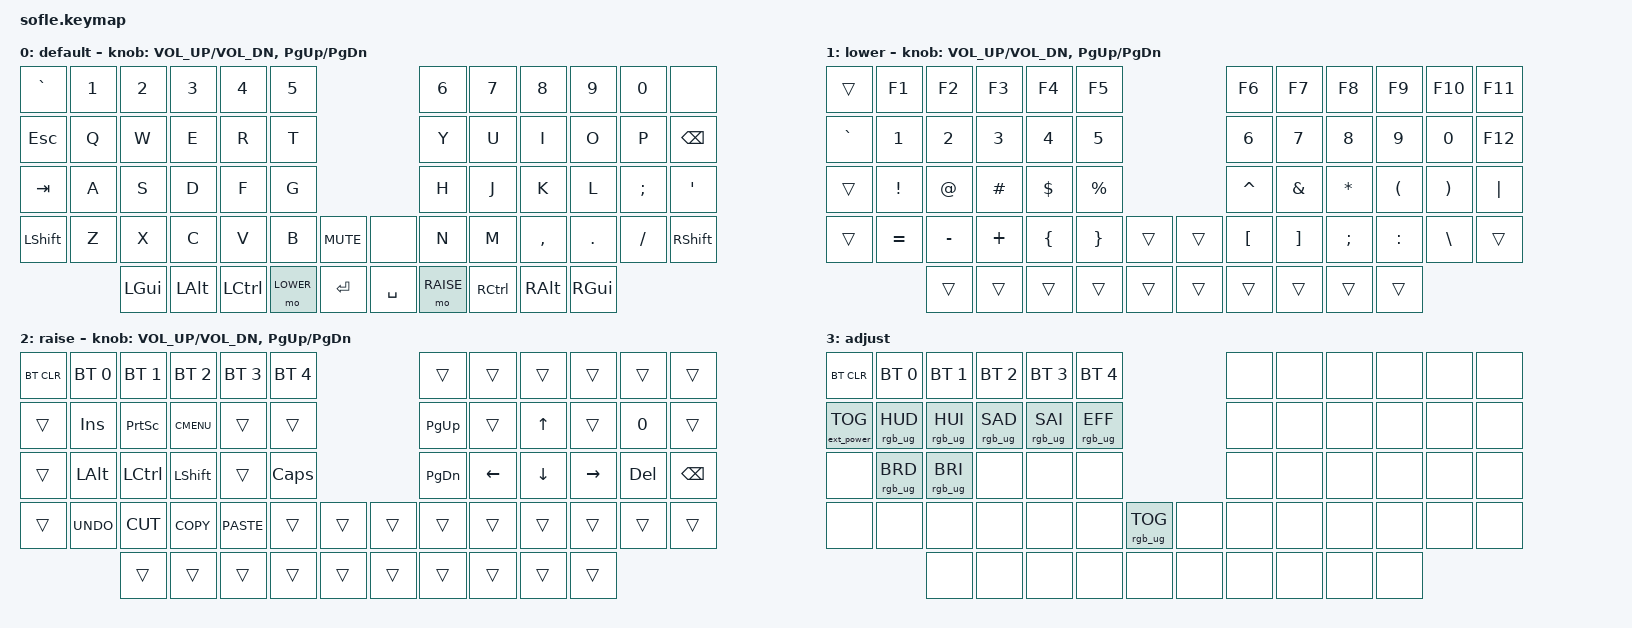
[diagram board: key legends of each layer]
/*
 * Copyright (c) 2020 The ZMK Contributors
 *
 * SPDX-License-Identifier: MIT
 */

#include <behaviors.dtsi>
#include <dt-bindings/zmk/keys.h>
#include <dt-bindings/zmk/bt.h>
#include <dt-bindings/zmk/rgb.h>
#include <dt-bindings/zmk/ext_power.h>
#include <dt-bindings/zmk/trackball_pim447.h>

#define BASE 0
#define LOWER 1
#define RAISE 2
#define ADJUST 3

/ {

   // Activate ADJUST layer by pressing raise and lower
    conditional_layers {
        compatible = "zmk,conditional-layers";
        adjust_layer {
            if-layers = <LOWER RAISE>;
            then-layer = <ADJUST>;
        };
    };

    keymap {
        compatible = "zmk,keymap";

        default_layer {
            display-name = "default";
// ------------------------------------------------------------------------------------------------------------
// |   `   |  1  |  2  |  3   |  4   |  5   |                   |  6   |  7    |  8    |  9   |   0   |       |
// |  ESC  |  Q  |  W  |  E   |  R   |  T   |                   |  Y   |  U    |  I    |  O   |   P   | BKSPC |
// |  TAB  |  A  |  S  |  D   |  F   |  G   |                   |  H   |  J    |  K    |  L   |   ;   |   '   |
// | SHIFT |  Z  |  X  |  C   |  V   |  B   |  MUTE  |  |       |  N   |  M    |  ,    |  .   |   /   | SHIFT |
//               | GUI | ALT  | CTRL | LOWER|  ENTER |  | SPACE | RAISE| CTRL  | ALT   | GUI  |
            bindings = <
&kp GRAVE &kp N1 &kp N2   &kp N3   &kp N4    &kp N5                           &kp N6 &kp N7    &kp N8    &kp N9   &kp N0   &none
&kp ESC   &kp Q  &kp W    &kp E    &kp R     &kp T                            &kp Y  &kp U     &kp I     &kp O    &kp P    &kp BSPC
&kp TAB   &kp A  &kp S    &kp D    &kp F     &kp G                            &kp H  &kp J     &kp K     &kp L    &kp SEMI &kp SQT
&kp LSHFT &kp Z  &kp X    &kp C    &kp V     &kp B      &kp C_MUTE &none      &kp N  &kp M     &kp COMMA &kp DOT  &kp FSLH &kp RSHFT
                 &kp LGUI &kp LALT &kp LCTRL &mo LOWER  &kp RET    &kp SPACE  &mo RAISE  &kp RCTRL &kp RALT  &kp RGUI
            >;

            sensor-bindings = <&inc_dec_kp C_VOL_UP C_VOL_DN &inc_dec_kp PG_UP PG_DN>;
        };

        lower_layer {
            display-name = "lower";
// TODO: Some binds are waiting for shifted keycode support.
// ------------------------------------------------------------------------------------------------------------
// |       |  F1 |  F2 |  F3  |  F4  |  F5  |                   |  F6  |  F7   |  F8   |  F9  |  F10  |  F11  |
// |   `   |  1  |  2  |  3   |  4   |  5   |                   |  6   |  7    |  8    |  9   |   0   |  F12  |
// |       |  !  |  @  |  #   |  $   |  %   |                   |  ^   |  &    |  *    |  (   |   )   |   |   |
// |       |  =  |  -  |  +   |  {   |  }   |        |  |       |  [   |  ]    |  ;    |  :   |   \   |       |
//               |     |      |      |      |        |  |       |      |       |       |      |
            bindings = <
&trans    &kp F1    &kp F2    &kp F3      &kp F4    &kp F5                    &kp F6    &kp F7   &kp F8    &kp F9    &kp F10   &kp F11
&kp GRAVE &kp N1    &kp N2    &kp N3      &kp N4    &kp N5                    &kp N6    &kp N7   &kp N8    &kp N9    &kp N0    &kp F12
&trans    &kp EXCL  &kp AT    &kp HASH    &kp DLLR  &kp PRCNT                 &kp CARET &kp AMPS &kp ASTRK &kp LPAR  &kp RPAR  &kp PIPE
&trans    &kp EQUAL &kp MINUS &kp PLUS &kp LBRC  &kp RBRC   &trans &trans  &kp LBKT  &kp RBKT &kp SEMI  &kp COLON &kp BSLH  &trans
                    &trans    &trans      &trans    &trans     &trans &trans  &trans    &trans   &trans    &trans
            >;

            sensor-bindings = <&inc_dec_kp C_VOL_UP C_VOL_DN &inc_dec_kp PG_UP PG_DN>;
        };

        raise_layer {
            display-name = "raise";
// ------------------------------------------------------------------------------------------------------------
// | BTCLR | BT1  | BT2  |  BT3  |  BT4  |  BT5 |                |      |      |       |      |       |       |
// |       | INS  | PSCR | GUI   |       |      |                | PGUP |      |   ^   |      |       |       |
// |       | ALT  | CTRL | SHIFT |       | CAPS |                | PGDN |   <- |   v   |  ->  |  DEL  | BKSPC |
// |       | UNDO | CUT  | COPY  | PASTE |      |      |  |      |      |      |       |      |       |       |
//                |      |       |       |      |      |  |      |      |      |       |      |
            bindings = <
&bt BT_CLR &bt BT_SEL 0 &bt BT_SEL 1 &bt BT_SEL 2 &bt BT_SEL 3 &bt BT_SEL 4                  &trans    &trans    &trans   &trans    &trans  &trans
&trans     &kp INS      &kp PSCRN    &kp K_CMENU  &trans       &trans                        &kp PG_UP &trans    &kp UP   &trans    &kp N0  &trans
&trans     &kp LALT     &kp LCTRL    &kp LSHFT    &trans       &kp CLCK                      &kp PG_DN &kp LEFT  &kp DOWN &kp RIGHT &kp DEL &kp BSPC
&trans     &kp K_UNDO   &kp K_CUT    &kp K_COPY   &kp K_PASTE  &trans        &trans  &trans  &trans    &trans    &trans   &trans    &trans  &trans
                        &trans       &trans       &trans       &trans        &trans  &trans  &trans    &trans    &trans   &trans
            >;

            sensor-bindings = <&inc_dec_kp C_VOL_UP C_VOL_DN &inc_dec_kp PG_UP PG_DN>;
        };

        adjust_layer {
// ----------------------------------------------------------------------------------------------------------------------------
// | BTCLR  |  BT1    |  BT2    |   BT3   |   BT4   |   BT5   |                  |      |      |       |      |       |       |
// | EXTPWR | RGB_HUD | RGB_HUI | RGB_SAD | RGB_SAI | RGB_EFF |                  |      |      |       |      |       |       |
// |        | RGB_BRD | RGB_BRI |         |         |         |                  |      |      |       |      |       |       |
// |        |         |         |         |         |         | RGB_TOG | |      |      |      |       |      |       |       |
//                    |         |         |         |         |         | |      |      |      |       |      |
            display-name = "adjust";
            bindings = <
&bt BT_CLR        &bt BT_SEL 0    &bt BT_SEL 1    &bt BT_SEL 2    &bt BT_SEL 3    &bt BT_SEL 4                            &none &none &none &none &none &none
&ext_power EP_TOG &rgb_ug RGB_HUD &rgb_ug RGB_HUI &rgb_ug RGB_SAD &rgb_ug RGB_SAI &rgb_ug RGB_EFF                         &none &none &none &none &none &none
&none             &rgb_ug RGB_BRD &rgb_ug RGB_BRI &none           &none           &none                                   &none &none &none &none &none &none
&none             &none           &none           &none           &none           &none            &rgb_ug RGB_TOG &none  &none &none &none &none &none &none
                                  &none           &none           &none           &none            &none           &none  &none &none &none &none
            >;
        };

    };
};

&nice_nano_V2 {
	status = "okay";

	trackball_pim447@a {
		compatible = "pimoroni,trackball_pim447";
		reg = <0xa>;
		label = "TRACKBALL_PIM447";

		move-factor = <2>;      // Increase pointer velocity (default: 1)
		invert-move-x;          // Invert pointer X axis (left is right, and vice versa)
		invert-move-y;          // Invert pointer Y axis (up is down, and vice versa)
		button = <1>;           // Send right-click when pressing the ball (default: 0, ie. left-click)
		swap-axes;              // Swap X and Y axes (horizontal is vertical, and vice versa)
		scroll-divisor = <1>;   // Increase wheel velocity (default: 2)
		invert-scroll-x;        // Invert wheel X axis (left is right, and vice versa)
		invert-scroll-y;        // Invert wheel Y axis (up is down, and vice versa)
		mode = <PIM447_SCROLL>; // Act as mouse wheels at startup (default: PIM447_MOVE for a pointer)
	};
};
